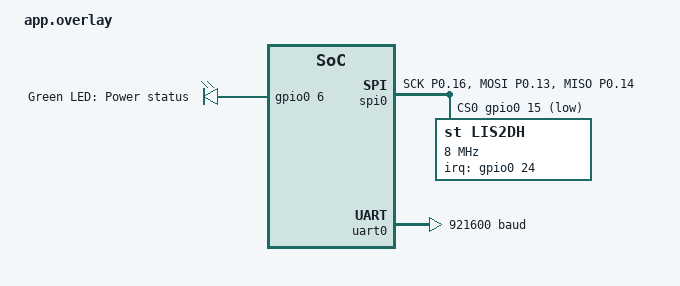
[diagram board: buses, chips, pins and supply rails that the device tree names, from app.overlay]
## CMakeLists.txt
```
#
# Copyright (c) 2018, Yannis Damigos
#
# SPDX-License-Identifier: Apache-2.0
#

cmake_minimum_required(VERSION 3.20.0)
find_package(Zephyr REQUIRED HINTS $ENV{ZEPHYR_BASE})
project(lis2dh_fifo_full)

FILE(GLOB app_sources src/*.c)
target_sources(app PRIVATE ${app_sources})
```

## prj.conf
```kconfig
CONFIG_STDOUT_CONSOLE=y
CONFIG_I2C=n
CONFIG_SPI=y
CONFIG_SENSOR=y
CONFIG_CBPRINTF_FP_SUPPORT=y

# CONFIG_LIS2DH=y
CONFIG_LIS2DH_TRIGGER_GLOBAL_THREAD=y
CONFIG_LIS2DH_ACCEL_RANGE_8G=y
CONFIG_LIS2DH_ODR_RUNTIME=y
CONFIG_LIS2DH_OPER_MODE_NORMAL=y
CONFIG_LIS2DH_ACCEL_HP_FILTERS=y

CONFIG_SENSOR_LOG_LEVEL_DBG=y
CONFIG_LOG=y

CONFIG_SPI_LOG_LEVEL_DBG=y
CONFIG_SENSOR_LOG_LEVEL_DBG=y

# CONFIG_SOC_SERIES_NRF52=y
```

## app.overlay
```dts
 #include <zephyr/dt-bindings/sensor/lis2dh.h>
 #include <zephyr/dt-bindings/sensor/stts22h.h>

 / {
	leds {
		compatible = "gpio-leds";
		status = "okay";
		led0: led_0 {
			gpios = <&gpio0 6 (GPIO_ACTIVE_HIGH | GPIO_PULL_DOWN)>;
			label = "Green LED: Power status";
			status = "okay";
		};
		// led1: led_1 {
		// 	gpios = <&gpio0 14 (GPIO_ACTIVE_LOW | GPIO_PULL_DOWN)>;
		// 	label = "Orange LED: TX status";
		// 	status = "disabled";
		// };
		// led2: led_2 {
		// 	gpios = <&gpio0 13 (GPIO_ACTIVE_LOW | GPIO_PULL_DOWN)>;
		// 	label = "Red LED: RX status";
		// 	status = "disabled";
		// };
		// led3: led_3 {
		// 	gpios = <&gpio0 19 (GPIO_ACTIVE_LOW | GPIO_PULL_DOWN)>;
		// 	label = "Yellow LED: BLE connection status";
		// 	status = "disabled";
		// };
		// led4: led_4 {
		// 	gpios = < &gpio0 17 (GPIO_ACTIVE_LOW | GPIO_PULL_DOWN)>;
		// 	label = "Blue LED: BLE status";
		// 	status = "disabled";
		// };
	};

	// buttons {
	// 	compatible = "gpio-keys";
	// 	status = "disabled";
	// 	button0: button_0 {
	// 		gpios = <&gpio0 24 (GPIO_PULL_UP | GPIO_ACTIVE_HIGH)>;
	// 		label = "INT1 pin testing";
	// 		zephyr,code = <INPUT_KEY_0>;
	// 	};
	// 	button1: button_1 {
	// 		gpios = <&gpio0 12 (GPIO_PULL_UP | GPIO_ACTIVE_HIGH)>;
	// 		label = "Rotary switch: 0";
	// 		status = "disabled";
	// 	};
	// 	button2: button_2 {
	// 		gpios = <&gpio0 27 (GPIO_PULL_UP | GPIO_ACTIVE_HIGH)>;
	// 		label = "Rotary switch: 1";
	// 		status = "disabled";
	// 	};
	// 	button3: button_3 {
	// 		gpios = <&gpio0 7 (GPIO_PULL_UP | GPIO_ACTIVE_HIGH)>;
	// 		label = "Rotary switch: 2";
	// 		status = "disabled";
	// 	};
	// 	button4: button_4 {
	// 		gpios = <&gpio0 6 (GPIO_PULL_UP | GPIO_ACTIVE_HIGH)>;
	// 		label = "Rotary switch: 4 Unsupported pin";
	// 		status = "disabled";
	// 	};
	// };

	aliases {
		greenled = &led0;
		accelerometer = &lis2dh;
	};
};

&pinctrl {
	uart0_default: uart0_default {
		group1 {
			psels = <NRF_PSEL(UART_TX, 0, 29)>,
					<NRF_PSEL(UART_RTS, 0, 31)>;
			};
		group2 {
			psels = <NRF_PSEL(UART_RX, 1, 13)>,
					<NRF_PSEL(UART_CTS, 1, 12)>;
					bias-pull-up;
			};
	};

	uart0_sleep: uart0_sleep {
		group1 {
			psels = <NRF_PSEL(UART_TX, 0, 29)>,
					<NRF_PSEL(UART_RX, 1, 13)>,
					<NRF_PSEL(UART_RTS, 0, 31)>,
					<NRF_PSEL(UART_CTS, 1, 12)>;
					low-power-enable;
		};
	};

	spi0_default: spi0_default {
		group1 {
			psels = <NRF_PSEL(SPIM_SCK, 0, 16)>,
				<NRF_PSEL(SPIM_MOSI, 0, 13)>,
				<NRF_PSEL(SPIM_MISO, 0, 14)>;
		};
	};

	spi0_sleep: spi0_sleep {
		group1 {
			psels = <NRF_PSEL(SPIM_SCK, 0, 16)>,
				<NRF_PSEL(SPIM_MOSI, 0, 13)>,
				<NRF_PSEL(SPIM_MISO, 0, 14)>;
			low-power-enable;
		};
	};

	i2c1_default: i2c1_default {
		group1 {
			psels = <NRF_PSEL(TWIM_SDA, 0, 4)>,
				<NRF_PSEL(TWIM_SCL, 0, 30)>;
		};
	};

	i2c1_sleep: i2c1_sleep {
		group1 {
			psels = <NRF_PSEL(TWIM_SDA, 0, 4)>,
				<NRF_PSEL(TWIM_SCL, 0, 30)>;
			low-power-enable;
		};
	};
};

&spi0 {
	status = "okay";
	compatible = "nordic,nrf-spim";
	cs-gpios = <&gpio0 15 GPIO_ACTIVE_LOW>;
	pinctrl-0 = <&spi0_default>;
	pinctrl-1 = <&spi0_sleep>;
	pinctrl-names = "default", "sleep";
	// zephyr,pm-device-runtime-auto;

	lis2dh: lis2dh@0 {
		compatible = "st,lis2dh";
		reg = <0>;
		spi-max-frequency = <8000000>;
		irq-gpios = <&gpio0 24 (GPIO_ACTIVE_HIGH)>; // GPIO_PULL_DOWN
		int1-gpio-config = <LIS2DH_DT_GPIO_INT_EDGE_RISING>;
		status = "okay";
	};
};

&uart0 {
	current-speed = <921600>;
	status = "okay";
};
```

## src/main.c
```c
/*
 * Copyright (c) 2019 Nordic Semiconductor ASA
 *
 * SPDX-License-Identifier: Apache-2.0
 */

#include <stdio.h>
#include <zephyr/kernel.h>
#include <zephyr/device.h>
#include <zephyr/drivers/sensor.h>
#include <zephyr/drivers/gpio.h>

static void fetch_and_display(const struct device *sensor)
{
	static unsigned int count;
	struct sensor_value accel[3];
	struct sensor_value temperature;
	const char *overrun = "";
	static unsigned int fifo_size = 32;
	int rc = sensor_sample_fetch(sensor);

	++count;
	if (rc == -EBADMSG) {
		/* Sample overrun.  Ignore in polled mode. */
		if (IS_ENABLED(CONFIG_LIS2DH_TRIGGER)) {
			overrun = "[OVERRUN] ";
		}
		rc = 0;
	}
	if (rc == 0) {
		while (fifo_size--)
		{
			rc = sensor_channel_get(sensor, SENSOR_CHAN_ACCEL_XYZ, accel);
			printf("#%u @ %u ms: %sx %f , y %f , z %f\r\n",
				count, k_uptime_get_32(), overrun,
				sensor_value_to_double(&accel[0]),
				sensor_value_to_double(&accel[1]),
				sensor_value_to_double(&accel[2]));
		}

	}
	if (rc < 0) {
		printf("ERROR: Update failed: %d\n", rc);
	} else {
		printf("Done fetching 32 samples from fifo\r\n");
	}

	if (IS_ENABLED(CONFIG_LIS2DH_MEASURE_TEMPERATURE)) {
		if (rc == 0) {
			rc = sensor_channel_get(sensor, SENSOR_CHAN_DIE_TEMP, &temperature);
			if (rc < 0) {
				printf("\nERROR: Unable to read temperature:%d\n", rc);
			} else {
				printf(", t %f\n", sensor_value_to_double(&temperature));
			}
		}

	} else {
		printf("\n");
	}
}

// #ifdef CONFIG_LIS2DH_TRIGGER
static void trigger_handler(const struct device *dev,
			    const struct sensor_trigger *trig)
{
	fetch_and_display(dev);
}
// #endif

int main(void)
{
	int rc = 0;
	struct device *const sensor = DEVICE_DT_GET(DT_ALIAS(accelerometer));
	static const struct gpio_dt_spec status_led = GPIO_DT_SPEC_GET(DT_NODELABEL(led0), gpios);

    if (!gpio_is_ready_dt(&status_led)) {
        printk("Status LED not in devicetree\r\n");
    }

    rc = gpio_pin_configure_dt(&status_led, GPIO_OUTPUT_ACTIVE);
    if (rc < 0){
        printk("Status LED could not be configured\r\n");
    }
    printk("Status LED configured\r\n");

	if (sensor == NULL) {
		printf("No device found\r\n");
		return 0;
	}
	if (!device_is_ready(sensor)) {
		printf("Device %s is not ready\r\n", sensor->name);
		// return 0;
	}
	else {

		struct sensor_trigger trig;
		int rc;

		trig.type = SENSOR_TRIG_FIFO_FULL;
		trig.chan = SENSOR_CHAN_ACCEL_XYZ;

		// if (IS_ENABLED(CONFIG_LIS2DH_ODR_RUNTIME)) {
			struct sensor_value odr = {
				.val1 = 1,
			};

			rc = sensor_attr_set(sensor, trig.chan,
							SENSOR_ATTR_SAMPLING_FREQUENCY,
							&odr);
			if (rc != 0) {
				printf("Failed to set odr: %d\n", rc);
				return 0;
			}
			printf("Sampling at %u Hz\n", odr.val1);
		// }

		rc = sensor_trigger_set(sensor, &trig, trigger_handler);
		if (rc != 0) {
			printf("Failed to set trigger: %d\n", rc);
			return 0;
		}
		printf("Waiting for triggers\n");
	}
	
	while (true) {
		gpio_pin_toggle_dt(&status_led);
		k_sleep(K_MSEC(2000));
	}
}
```
